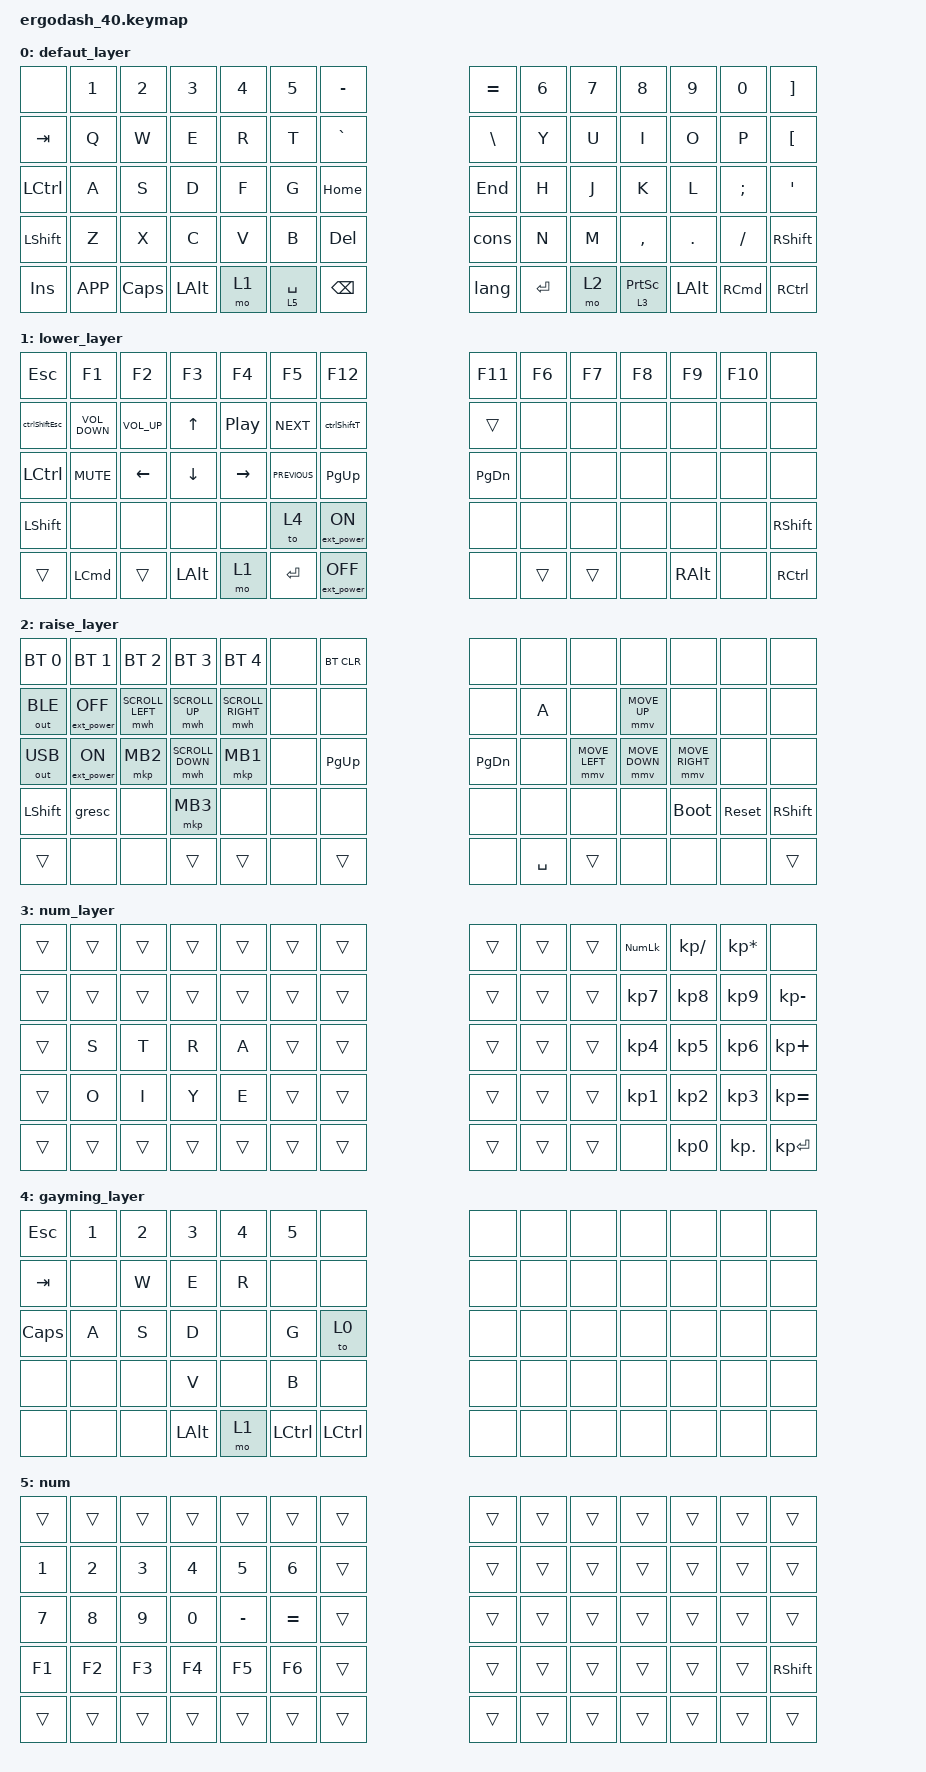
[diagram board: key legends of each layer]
#include <behaviors.dtsi>

#define DEFAULT 0
#define LOWER   1
#define RAISE   2
#define NUM     3
#define GAYMING 4

#include "mouse.dtsi"
#include <dt-bindings/zmk/bt.h>
#include <dt-bindings/zmk/ext_power.h>
#include <dt-bindings/zmk/keys.h>
#include <dt-bindings/zmk/outputs.h>

&lt {
    quick_tap_ms = <200>;
};

&mt {
    quick_tap_ms = <200>;
};

/ {
    combos {
        compatible = "zmk,combos";

        space_main {
            bindings = <&kp SPACE>;
            key-positions = <29 30 31 32>;
        };

        f7 {
            bindings = <&kp F7>;
            key-positions = <42 43>;
            layers = <5>;
        };

        f8 {
            bindings = <&kp F8>;
            key-positions = <43 44>;
            layers = <5>;
        };

        f9 {
            bindings = <&kp F9>;
            key-positions = <44 45>;
            layers = <5>;
        };

        f10 {
            bindings = <&kp F10>;
            key-positions = <45 46>;
            layers = <5>;
        };

        f12 {
            bindings = <&kp F12>;
            key-positions = <42 44>;
            layers = <5>;
        };

        f11 {
            bindings = <&kp F11>;
            key-positions = <46 47>;
            layers = <5>;
        };
    };

    macros {
        cons: cons {
            compatible = "zmk,behavior-macro";
            label = "cons";
            #binding-cells = <0>;
            bindings =
                <&macro_press>,
                <&kp LCTRL &kp SPACE>,
                <&macro_release>,
                <&kp SPACE &kp LCTRL>;
        };
        ctrlShiftT: ctrlShiftT {
            compatible = "zmk,behavior-macro";
            label = "ctrlShiftT";
            #binding-cells = <0>;
            bindings =
                <&macro_press>,
                <&kp LCTRL &kp LEFT_SHIFT &kp T>,
                <&macro_release>,
                <&kp LCTRL &kp LEFT_SHIFT &kp T>;
        };
        ctrlShiftEsc: ctrlShiftEsc {
            compatible = "zmk,behavior-macro";
            label = "ctrlShiftEsc";
            #binding-cells = <0>;
            bindings =
                <&macro_press>,
                <&kp LCTRL &kp LEFT_SHIFT &kp ESC>,
                <&macro_release>,
                <&kp LCTRL &kp LEFT_SHIFT &kp ESC>;
        };
        lang: lang {
            compatible = "zmk,behavior-macro";
            label = "lang";
            #binding-cells = <0>;
            bindings =
                <&macro_press>,
                <&kp LEFT_ALT &kp LEFT_SHIFT>,
                <&macro_release>,
                <&kp LALT &kp LEFT_SHIFT>;
        };
    };

    keymap {
        compatible = "zmk,keymap";

        defaut_layer {
            /* QWERTY
 * .----------------------------------------------------------------------------------------------------------------------.
 * |  `   |   1  |   2  |   3  |   4  |   5  |  [   |                    |  ]   |   6  |   7  |   8  |   9  |   0  | PScr |
 * |------+------+------+------+------+------+------+--------------------+------+------+------+------+------+------+------|
 * | ESC  |   Q  |   W  |   E  |   R  |   T  |  -   |                    |  =   |   Y  |   U  |   I  |   O  |   P  |  \   |
 * |------+------+------+------+------+------+------+--------------------+------+------+------+------+------+------+------|
 * | Tab  |   A  |   S  |   D  |   F  |   G  | Del  |                    | Bksp |   H  |   J  |   K  |   L  |   ;  |  '   |
 * |------+------+------+------+------+------+---------------------------+------+------+------+------+------+------+------|
 * | Shift|   Z  |   X  |   C  |   V  |   B  | End  |                    | Home |   N  |   M  |   ,  |   .  |   /  | Shift|
 * |-------------+------+------+------+------+------+------+------+------+------+------+------+------+------+-------------|
 * | Ctrl |      | PGDN | Win  |||||||| Alt  | Space| Lower|||||||| Raise| Enter| RAlt ||||||||      | PGUP | Ins  | RCtrl|
 * .----------------------------------------------------------------------------------------------------------------------.
 */

            bindings = <
&none      &kp N1     &kp N2    &kp N3    &kp N4  &kp N5  &kp MINUS                     &kp EQUAL      &kp N6  &kp N7  &kp N8             &kp N9    &kp N0             &kp RIGHT_BRACKET
&kp TAB    &kp Q      &kp W     &kp E     &kp R   &kp T   &kp GRAVE                     &kp BACKSLASH  &kp Y   &kp U   &kp I              &kp O     &kp P              &kp LEFT_BRACKET
&kp LCTRL  &kp A      &kp S     &kp D     &kp F   &kp G   &kp HOME                      &kp END        &kp H   &kp J   &kp K              &kp L     &kp SEMICOLON      &kp SQT
&kp LSHFT  &kp Z      &kp X     &kp C     &kp V   &kp B                &kp DEL   &cons                 &kp N   &kp M   &kp COMMA          &kp DOT   &kp SLASH          &kp RSHFT
&kp INS    &kp K_APP  &kp CAPS  &kp LALT  &mo 1           &lt 5 SPACE  &kp BSPC  &lang  &kp ENTER              &mo 2   &lt 3 PRINTSCREEN  &kp LALT  &kp RIGHT_COMMAND  &kp RCTRL
            >;
        };

        lower_layer {
            /* .----------------------------------------------------------------------------------------------------------------------.
 * |  F11 |  F1  |  F2  |  F3  |  F4  |  F5  |      |                    |      |  F6  |  F7  |  F8  |  F9  |  F10 |  F12 |
 * |------+------+------+------+------+------+------+--------------------+------+------+------+------+------+------+------|
 * |      |      |      |      |      |      |      |                    |      |      |      |      |      |      |      |
 * |------+------+------+------+------+------+------+--------------------+------+------+------+------+------+------+------|
 * |      |      |      |      |      |      |      |                    |      |      |      |      |      |      |      |
 * |------+------+------+------+------+------+---------------------------+------+------+------+------+------+------+------|
 * | Shift| Boot | Reset|      |      |      |      |                    |      |      |      |      |      |      | Shift|
 * |-------------+------+------+------+------+------+------+------+------+------+------+------+------+------+-------------|
 * | Ctlr |      |      |  Win |||||||| Alt  |      | Lower|||||||| Raise|      | RAlt ||||||||      |      |      | RCtrl|
 * .----------------------------------------------------------------------------------------------------------------------.
 *//* FIXME boot and reset are not yet locale aware */
            bindings = <
&kp ESC         &kp F1             &kp F2           &kp F3          &kp F4            &kp F5          &kp F12                                &kp F11        &kp F6  &kp F7  &kp F8  &kp F9         &kp F10  &none
&ctrlShiftEsc   &kp C_VOLUME_DOWN  &kp C_VOLUME_UP  &kp UP_ARROW    &kp C_PLAY_PAUSE  &kp C_NEXT      &ctrlShiftT                            &trans         &none   &none   &none   &none          &none    &none
&kp LCTRL       &kp C_MUTE         &kp LEFT_ARROW   &kp DOWN_ARROW  &kp RIGHT_ARROW   &kp C_PREVIOUS  &kp PAGE_UP                            &kp PAGE_DOWN  &none   &none   &none   &none          &none    &none
&kp LEFT_SHIFT  &none              &none            &none           &none             &to 4                        &ext_power EP_ON   &none                 &none   &none   &none   &none          &none    &kp RIGHT_SHIFT
&trans          &kp LEFT_COMMAND   &trans           &kp LEFT_ALT    &mo 1                             &kp ENTER    &ext_power EP_OFF  &none  &trans                 &trans  &none   &kp RIGHT_ALT  &none    &kp RCTRL
            >;
        };

        raise_layer {
            /* .----------------------------------------------------------------------------------------------------------------------.
 * |      | BT 0 | BT 1 | BT 2 | BT 3 |      | BTCL |                    |      |      |      |      |      |      |      |
 * |------+------+------+------+------+------+------+--------------------+------+------+------+------+------+------+------|
 * |      |      |      |      |      |      |      |                    |      |      |      |      |      |      |      |
 * |------+------+------+------+------+------+------+--------------------+------+------+------+------+------+------+------|
 * |      |      |      |      |      |      |      |                    |      |      |      |      |      |      |      |
 * |------+------+------+------+------+------+---------------------------+------+------+------+------+------+------+------|
 * | Shift|      |      |      |      |      |      |                    |      |      |      |      | Boot | Reset| Shift|
 * |-------------+------+------+------+------+------+------+------+------+------+------+------+------+------+-------------|
 * | Ctlr |      |      |  Win |||||||| Alt  |      | Lower|||||||| Raise|      | RAlt ||||||||      |      |      | RCtrl|
 * .----------------------------------------------------------------------------------------------------------------------.
 *//* FIXME boot and reset are not yet locale aware */
            bindings = <
&bt BT_SEL 0    &bt BT_SEL 1       &bt BT_SEL 2      &bt BT_SEL 3      &bt BT_SEL 4       &none  &bt BT_CLR                  &none          &none  &none           &none           &none            &none       &none
&out OUT_BLE    &ext_power EP_OFF  &mwh SCROLL_LEFT  &mwh SCROLL_UP    &mwh SCROLL_RIGHT  &none  &none                       &none          &kp A  &none           &mmv MOVE_UP    &none            &none       &none
&out OUT_USB    &ext_power EP_ON   &mkp MB2          &mwh SCROLL_DOWN  &mkp MB1           &none  &kp PAGE_UP                 &kp PAGE_DOWN  &none  &mmv MOVE_LEFT  &mmv MOVE_DOWN  &mmv MOVE_RIGHT  &none       &none
&kp LEFT_SHIFT  &gresc             &none             &mkp MB3          &none              &none               &none   &none                 &none  &none           &none           &bootloader      &sys_reset  &kp RIGHT_SHIFT
&trans          &none              &none             &trans            &trans                    &none        &trans  &none  &kp SPACE             &trans          &none           &none            &none       &trans
            >;
        };

        num_layer {
            bindings = <
&trans  &trans  &trans  &trans  &trans  &trans  &trans                  &trans  &trans  &trans  &kp KP_NLCK  &kp KP_DIVIDE  &kp KP_MULTIPLY  &none
&trans  &trans  &trans  &trans  &trans  &trans  &trans                  &trans  &trans  &trans  &kp KP_N7    &kp KP_N8      &kp KP_N9        &kp KP_MINUS
&trans  &kp S   &kp T   &kp R   &kp A   &trans  &trans                  &trans  &trans  &trans  &kp KP_N4    &kp KP_N5      &kp KP_N6        &kp KP_PLUS
&trans  &kp O   &kp I   &kp Y   &kp E   &trans          &trans  &trans          &trans  &trans  &kp KP_N1    &kp KP_N2      &kp KP_N3        &kp KP_EQUAL
&trans  &trans  &trans  &trans  &trans          &trans  &trans  &trans  &trans          &trans  &none        &kp KP_N0      &kp KP_DOT       &kp KP_ENTER
            >;
        };

        gayming_layer {
            bindings = <
&kp ESCAPE  &kp NUMBER_1  &kp NUMBER_2  &kp NUMBER_3  &kp NUMBER_4  &kp N5  &none                        &none  &none  &none  &none  &none  &none  &none
&kp TAB     &none         &kp W         &kp E         &kp R         &none   &none                        &none  &none  &none  &none  &none  &none  &none
&kp CLCK    &kp A         &kp S         &kp D         &none         &kp G   &to 0                        &none  &none  &none  &none  &none  &none  &none
&none       &none         &none         &kp V         &none         &kp B              &none      &none         &none  &none  &none  &none  &none  &none
&none       &none         &none         &kp LEFT_ALT  &mo 1                 &kp LCTRL  &kp LCTRL  &none  &none         &none  &none  &none  &none  &none
            >;
        };

        num {
            bindings = <
&trans        &trans        &trans        &trans        &trans     &trans        &trans                  &trans  &trans  &trans  &trans  &trans  &trans  &trans
&kp NUMBER_1  &kp NUMBER_2  &kp NUMBER_3  &kp NUMBER_4  &kp N5     &kp NUMBER_6  &trans                  &trans  &trans  &trans  &trans  &trans  &trans  &trans
&kp N7        &kp N8        &kp N9        &kp N0        &kp MINUS  &kp EQUAL     &trans                  &trans  &trans  &trans  &trans  &trans  &trans  &trans
&kp F1        &kp F2        &kp F3        &kp F4        &kp F5     &kp F6                &trans  &trans          &trans  &trans  &trans  &trans  &trans  &kp RSHFT
&trans        &trans        &trans        &trans        &trans                   &trans  &trans  &trans  &trans          &trans  &trans  &trans  &trans  &trans
            >;
        };
    };
};
